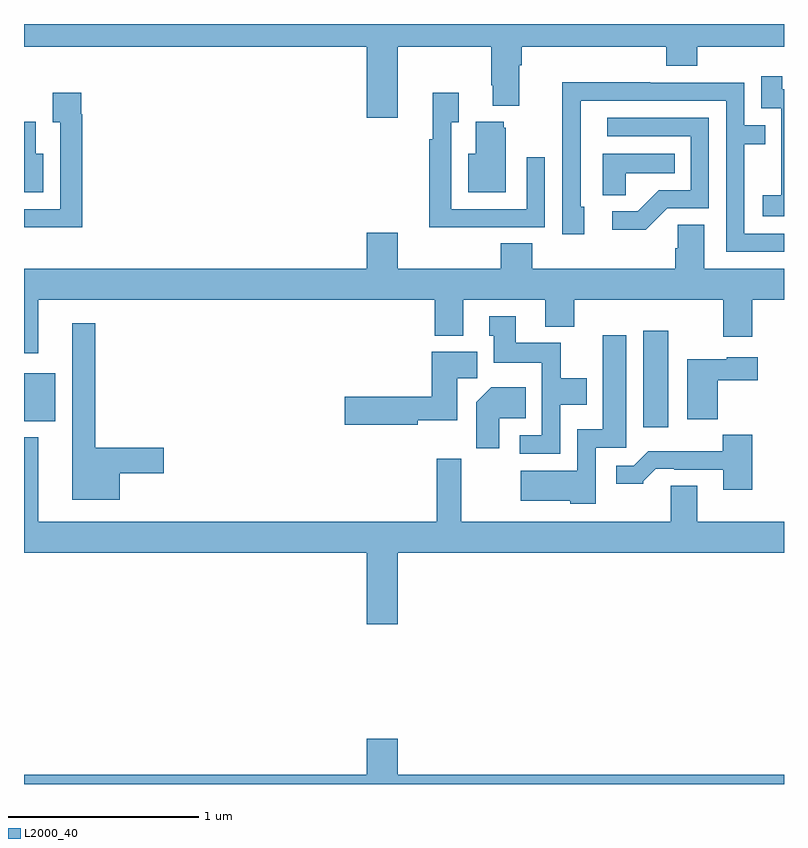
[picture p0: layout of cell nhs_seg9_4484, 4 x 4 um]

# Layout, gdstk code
import gdstk
lib = gdstk.Library(unit=1e-6, precision=1e-09)
def R(c, l, rs):  # rectangles x0, y0, x1, y1
    for r in rs: c.add(gdstk.rectangle(r[:2], r[2:], *l))
def P(c, l, *ps):  # polygons
    for p in ps: c.add(gdstk.Polygon(p, *l))
L2000_40 = (2000, 40)

nhs_seg9_4484 = lib.new_cell('nhs_seg9_4484')
R(nhs_seg9_4484, L2000_40, [(370.259,1234.377,370.39,1234.885), (367,1234.409,367.165,1234.663)])
P(nhs_seg9_4484, L2000_40, [(367,1236.38),(368.804,1236.38),(368.804,1236.006),(368.968,1236.006),(368.968,1236.38),(369.46,1236.38),(369.46,1236.178),(369.467,1236.178),(369.467,1236.071),(369.607,1236.071),(369.607,1236.284),(369.62,1236.284),(369.62,1236.38),(370.379,1236.38),(370.379,1236.281),(370.544,1236.281),(370.544,1236.38),(371,1236.38),(371,1236.5),(367,1236.5)],
  [(371,1236.156),(370.99,1236.156),(370.99,1236.226),(370.881,1236.226),(370.881,1236.057),(370.986,1236.057),(370.986,1235.828),(370.985,1235.828),(370.985,1235.599),(370.887,1235.599),(370.887,1235.489),(371,1235.489)],
  [(371,1235.397),(370.791,1235.397),(370.791,1235.866),(370.901,1235.866),(370.901,1235.967),(370.791,1235.967),(370.791,1236.192),(370.295,1236.192),(370.295,1236.194),(369.832,1236.194),(369.832,1235.887),(369.834,1235.887),(369.834,1235.394),(369.949,1235.394),(369.949,1235.538),(369.93,1235.538),(369.93,1236.096),(370.695,1236.096),(370.695,1235.301),(371,1235.301)],
  [(367.307,1236.026),(367.3,1236.026),(367.3,1236.139),(367.151,1236.139),(367.151,1235.983),(367.191,1235.983),(367.191,1235.526),(367,1235.526),(367,1235.43),(367.015,1235.43),(367.015,1235.429),(367.307,1235.429)],
  [(369.425,1235.43),(369.741,1235.43),(369.741,1235.8),(369.645,1235.8),(369.645,1235.526),(369.249,1235.526),(369.249,1235.983),(369.289,1235.983),(369.289,1236.139),(369.152,1236.139),(369.152,1235.894),(369.133,1235.894),(369.133,1235.429),(369.425,1235.429)],
  [(370.386,1235.529),(370.605,1235.529),(370.605,1236.006),(370.071,1236.006),(370.071,1235.91),(370.509,1235.91),(370.509,1235.625),(370.34,1235.625),(370.229,1235.514),(370.095,1235.514),(370.095,1235.417),(370.273,1235.417)],
  [(369.535,1235.955),(369.524,1235.955),(369.524,1235.986),(369.377,1235.986),(369.377,1235.818),(369.338,1235.818),(369.338,1235.615),(369.535,1235.615)],
  [(367.102,1235.818),(367.063,1235.818),(367.063,1235.986),(367,1235.986),(367,1235.615),(367.102,1235.615)],
  [(370.167,1235.714),(370.424,1235.714),(370.424,1235.818),(370.046,1235.818),(370.046,1235.599),(370.167,1235.599)],
  [(367.075,1235.048),(369.161,1235.048),(369.161,1234.859),(369.313,1234.859),(369.313,1235.048),(369.743,1235.048),(369.743,1234.907),(369.896,1234.907),(369.896,1235.048),(370.679,1235.048),(370.679,1234.854),(370.832,1234.854),(370.832,1235.048),(371,1235.048),(371,1235.212),(370.579,1235.212),(370.579,1235.444),(370.44,1235.444),(370.44,1235.321),(370.427,1235.321),(370.427,1235.212),(369.674,1235.212),(369.674,1235.345),(369.509,1235.345),(369.509,1235.212),(368.968,1235.212),(368.968,1235.401),(368.804,1235.401),(368.804,1235.212),(367,1235.212),(367,1234.767),(367.075,1234.767)],
  [(369.822,1234.496),(369.961,1234.496),(369.961,1234.636),(369.825,1234.636),(369.825,1234.822),(369.589,1234.822),(369.589,1234.963),(369.449,1234.963),(369.449,1234.86),(369.473,1234.86),(369.473,1234.718),(369.726,1234.718),(369.726,1234.335),(369.609,1234.335),(369.609,1234.239),(369.822,1234.239)],
  [(367.504,1234.136),(367.735,1234.136),(367.735,1234.271),(367.375,1234.271),(367.375,1234.924),(367.253,1234.924),(367.253,1233.995),(367.504,1233.995)],
  [(370.008,1234.269),(370.171,1234.269),(370.171,1234.861),(370.046,1234.861),(370.046,1234.366),(369.912,1234.366),(369.912,1234.15),(369.615,1234.15),(369.615,1233.992),(369.876,1233.992),(369.876,1233.974),(370.008,1233.974)],
  [(369.072,1234.415),(369.28,1234.415),(369.28,1234.636),(369.385,1234.636),(369.385,1234.774),(369.146,1234.774),(369.146,1234.538),(368.688,1234.538),(368.688,1234.391),(369.072,1234.391)],
  [(370.652,1234.625),(370.861,1234.625),(370.861,1234.747),(370.698,1234.747),(370.698,1234.735),(370.49,1234.735),(370.49,1234.421),(370.652,1234.421)],
  [(369.502,1234.424),(369.641,1234.424),(369.641,1234.588),(369.458,1234.588),(369.38,1234.51),(369.38,1234.266),(369.502,1234.266)],
  [(370.832,1234.339),(370.677,1234.339),(370.677,1234.252),(370.285,1234.252),(370.209,1234.176),(370.116,1234.176),(370.116,1234.079),(370.26,1234.079),(370.26,1234.094),(370.324,1234.158),(370.423,1234.158),(370.423,1234.155),(370.679,1234.155),(370.679,1234.05),(370.832,1234.05)],
  [(371,1233.88),(370.543,1233.88),(370.543,1234.07),(370.403,1234.07),(370.403,1233.88),(369.301,1233.88),(369.301,1234.213),(369.172,1234.213),(369.172,1233.88),(367.075,1233.88),(367.075,1234.324),(367,1234.324),(367,1233.716),(368.804,1233.716),(368.804,1233.342),(368.968,1233.342),(368.968,1233.716),(371,1233.716)],
  [(371,1232.548),(368.968,1232.548),(368.968,1232.737),(368.804,1232.737),(368.804,1232.548),(367,1232.548),(367,1232.5),(371,1232.5)])

lib.write_gds('nhs_seg9_4484.gds')
